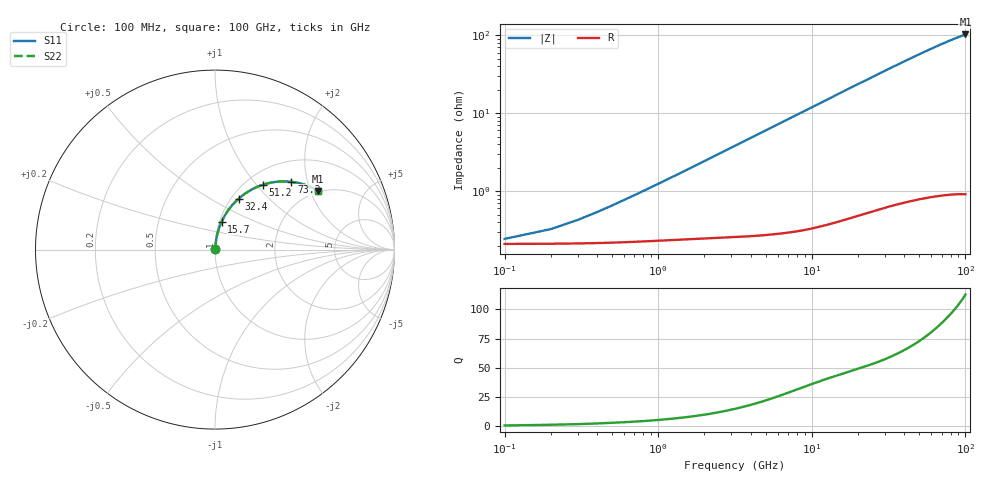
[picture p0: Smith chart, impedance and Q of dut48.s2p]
! Touchstone file exported from HFSS 2026.1.0
!  File:  C:/ffzhzh/LocalFiles/Ansys_Project_Files/temp_train_RDL_48_1783498255_44152.aedt
!  Generated:  04:11:57 PM Jul  8, 2026
!  Design:  RDL
!  Project:  temp_train_RDL_48_1783498255_44152
! Variables:
!  h_bsmrdl = 2um
!  h_ox = 20um
!  h_rdl = 5um
!  h_sub = 80um
!  h_tmrdl = 2.24um
!  h_tsv = 80um
!  h_via = 3um
!  l_bsmrdl = 300um
!  l_sub = 533.83um
!  l_tmrdl = 133.83um
!  m_sub = 200um
!  pitch = 50.16um
!  r_tsv = 6um
!  s_tmrdl = 10um
!  w_bsmrdl = 18um
!  w_sub = 500um
!  w_tmrdl = 11.54um
!  x_tsv_center1 = 139.6um
!  x_tsv_center2 = 457.6um
!  x_tsv_center3 = 602.97um
!  x_tsv_center4 = 920.97um
!  x_tsv_center5 = 1066.34um
!  x_tsv_center6 = 1384.34um
# GHz S MA R 50.000000
! Terminal data exported
! Port[1] = TM_RDL1_1_T1
! Port[2] = TM_RDL1_1_T2
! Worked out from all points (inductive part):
!   1000 points, 100 MHz to 100 GHz, reference 50 ohm
!   read as one part in series: L = 194 pH near 600 MHz
!   highest Q = 113 at 100 GHz (marker M1), where L = 163 pH
!   S11 on the Smith chart (normalised r, x): 100 MHz: 1.00, +0.00; 15.7 GHz: 1.02, +0.33; 32.4 GHz: 1.08, +0.68; 51.2 GHz: 1.20, +1.09; 73.2 GHz: 1.43, +1.60; 100 GHz: 1.96, +2.27
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0.1  0.00236 27.4  0.9979 -0.1  0.9979 -0.1  0.00236 27.4
! Gamma 0 0 0 0
! Port Impedance 50 0 50 0
0.4  0.004833 63.3  0.9978 -0.3  0.9978 -0.3  0.004833 63.3
0.9  0.009892 76.0  0.9977 -0.7  0.9977 -0.7  0.009892 76.0
1.2  0.01298 78.7  0.9976 -0.9  0.9976 -0.9  0.01298 78.7
1.5  0.01607 80.3  0.9975 -1.2  0.9975 -1.2  0.01607 80.3
2  0.02124 81.8  0.9973 -1.6  0.9973 -1.6  0.02124 81.8
2.5  0.02643 82.6  0.9972 -1.9  0.9972 -1.9  0.02643 82.6
4  0.04199 83.3  0.9965 -3.1  0.9965 -3.1  0.04199 83.3
6  0.06269 82.8  0.9952 -4.6  0.9952 -4.6  0.06269 82.8
8.6  0.0894 81.4  0.9929 -6.6  0.9929 -6.6  0.08941 81.4
11.8  0.1218 79.3  0.989 -9.0  0.989 -9.0  0.1218 79.3
15.7  0.1605 76.6  0.9829 -11.9  0.9829 -11.9  0.1605 76.6
16.8  0.1712 75.9  0.981 -12.7  0.981 -12.7  0.1712 75.8
23.8  0.2371 71.0  0.9663 -17.8  0.9663 -17.8  0.2371 70.9
32.4  0.3122 65.2  0.944 -23.8  0.944 -23.8  0.3122 65.1
33.4  0.3205 64.5  0.9411 -24.4  0.9411 -24.4  0.3205 64.5
50.1  0.4436 54.1  0.8892 -35.0  0.8892 -35.0  0.4436 54.0
51.2  0.4508 53.4  0.8856 -35.7  0.8856 -35.7  0.4508 53.4
66.7  0.5386 44.9  0.8352 -44.4  0.8352 -44.4  0.5386 44.8
73.2  0.569 41.6  0.815 -47.7  0.815 -47.7  0.569 41.5
83.4  0.6098 36.8  0.7851 -52.6  0.7851 -52.6  0.6099 36.7
100  0.6611 29.6  0.743 -59.9  0.743 -59.9  0.6611 29.5
